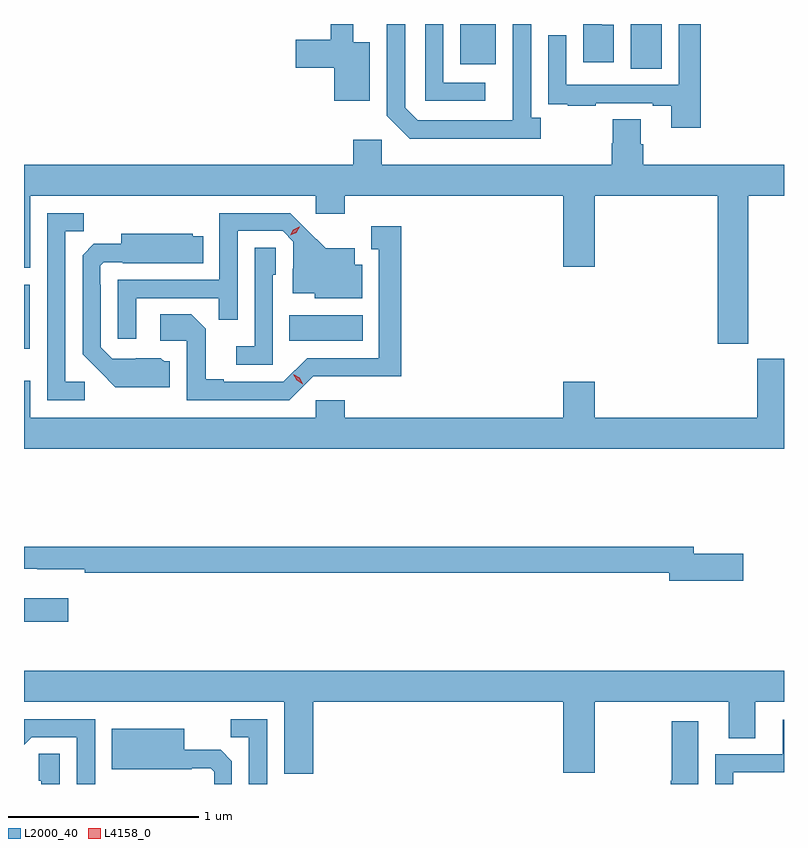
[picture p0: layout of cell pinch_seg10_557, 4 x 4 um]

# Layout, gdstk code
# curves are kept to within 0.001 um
import gdstk
lib = gdstk.Library(unit=1e-6, precision=1e-09)
def R(c, l, rs):  # rectangles x0, y0, x1, y1
    for r in rs: c.add(gdstk.rectangle(r[:2], r[2:], *l))
def P(c, l, *ps):  # polygons
    for p in ps: c.add(gdstk.Polygon(p, *l))
L2000_40 = (2000, 40)
L4158_0 = (4158, 0)

pinch_seg10_557 = lib.new_cell('pinch_seg10_557')
R(pinch_seg10_557, L2000_40, [(365.965,1276.763,366.199,1276.885), (365.965,1278.198,365.995,1278.535), (367.36,1278.242,367.747,1278.376), (369.158,1279.672,369.322,1279.908), (368.261,1279.697,368.449,1279.908)])
P(pinch_seg10_557, L2000_40, [(369.07,1279.903),(369.007,1279.903),(369.007,1279.908),(368.909,1279.908),(368.909,1279.707),(369.07,1279.707)],
  [(368.392,1279.599),(368.172,1279.599),(368.172,1279.908),(368.076,1279.908),(368.076,1279.503),(368.392,1279.503)],
  [(367.786,1279.813),(367.697,1279.813),(367.697,1279.908),(367.579,1279.908),(367.579,1279.826),(367.395,1279.826),(367.395,1279.679),(367.598,1279.679),(367.598,1279.505),(367.786,1279.505)],
  [(368.686,1279.414),(368.634,1279.414),(368.634,1279.908),(368.538,1279.908),(368.537,1279.401),(368.037,1279.401),(367.971,1279.467),(367.971,1279.908),(367.875,1279.908),(367.875,1279.425),(367.996,1279.304),(368.686,1279.304)],
  [(369.527,1279.908),(369.411,1279.908),(369.411,1279.587),(368.82,1279.587),(368.82,1279.849),(368.724,1279.849),(368.724,1279.594),(368.725,1279.594),(368.725,1279.485),(368.827,1279.485),(368.827,1279.479),(368.975,1279.479),(368.975,1279.491),(369.275,1279.491),(369.275,1279.479),(369.371,1279.479),(369.371,1279.362),(369.527,1279.362)],
  [(369.064,1279.406),(369.064,1279.281),(369.059,1279.281),(369.059,1279.168),(367.848,1279.168),(367.848,1279.3),(367.697,1279.3),(367.697,1279.168),(365.965,1279.168),(365.965,1278.624),(365.998,1278.624),(365.998,1279.004),(367.5,1279.004),(367.5,1278.909),(367.652,1278.909),(367.652,1279.004),(368.804,1279.004),(368.804,1278.63),(368.968,1278.63),(368.968,1279.004),(369.617,1279.004),(369.617,1278.225),(369.777,1278.225),(369.777,1279.004),(369.965,1279.004),(369.965,1279.168),(369.224,1279.168),(369.224,1279.274),(369.211,1279.274),(369.211,1279.406)],
  [(366.555,1278.465),(366.991,1278.465),(366.991,1278.352),(367.089,1278.352),(367.089,1278.819),(367.326,1278.819),(367.383,1278.762),(367.383,1278.62),(367.379,1278.62),(367.379,1278.491),(367.494,1278.491),(367.494,1278.464),(367.744,1278.464),(367.744,1278.64),(367.705,1278.64),(367.705,1278.727),(367.553,1278.727),(367.366,1278.912),(366.993,1278.912),(366.993,1278.561),(366.459,1278.561),(366.459,1278.252),(366.555,1278.252)],
  [(366.286,1278.024),(366.183,1278.024),(366.183,1278.817),(366.279,1278.817),(366.279,1278.912),(366.087,1278.912),(366.087,1277.928),(366.286,1277.928)],
  [(367.488,1278.054),(367.951,1278.053),(367.951,1278.844),(367.793,1278.844),(367.793,1278.723),(367.832,1278.723),(367.832,1278.15),(367.455,1278.15),(367.329,1278.024),(367.015,1278.024),(367.015,1278.037),(366.921,1278.037),(366.921,1278.304),(366.845,1278.38),(366.681,1278.38),(366.681,1278.24),(366.822,1278.24),(366.822,1277.928),(367.362,1277.928)],
  [(366.733,1278.132),(366.702,1278.132),(366.686,1278.148),(366.429,1278.147),(366.369,1278.207),(366.369,1278.536),(366.366,1278.536),(366.366,1278.636),(366.384,1278.654),(366.484,1278.654),(366.484,1278.65),(366.908,1278.65),(366.908,1278.79),(366.852,1278.79),(366.852,1278.805),(366.476,1278.805),(366.476,1278.751),(366.332,1278.751),(366.273,1278.692),(366.273,1278.17),(366.445,1277.996),(366.733,1277.996)],
  [(367.275,1278.588),(367.29,1278.588),(367.29,1278.731),(367.179,1278.731),(367.179,1278.211),(367.083,1278.211),(367.083,1278.114),(367.275,1278.114)],
  [(369.965,1278.145),(369.824,1278.145),(369.824,1277.836),(368.968,1277.836),(368.968,1278.025),(368.804,1278.025),(368.804,1277.836),(367.652,1277.836),(367.652,1277.929),(367.5,1277.929),(367.5,1277.836),(365.998,1277.836),(365.998,1278.031),(365.965,1278.031),(365.965,1277.672),(369.965,1277.672)],
  [(369.751,1277.12),(369.49,1277.12),(369.49,1277.156),(365.965,1277.156),(365.965,1277.04),(366.034,1277.04),(366.034,1277.039),(366.286,1277.039),(366.286,1277.02),(369.362,1277.02),(369.362,1276.978),(369.751,1276.978)],
  [(367.487,1276.34),(368.804,1276.34),(368.804,1275.966),(368.968,1275.966),(368.968,1276.34),(369.674,1276.34),(369.674,1276.15),(369.814,1276.15),(369.814,1276.34),(369.965,1276.34),(369.965,1276.504),(365.965,1276.504),(365.965,1276.34),(367.334,1276.34),(367.334,1275.962),(367.487,1275.962)],
  [(366.339,1276.248),(365.966,1276.248),(365.965,1276.247),(365.965,1276.114),(366.006,1276.155),(366.243,1276.155),(366.243,1275.908),(366.339,1275.908)],
  [(367.245,1276.248),(367.054,1276.248),(367.054,1276.153),(367.149,1276.153),(367.149,1275.908),(367.245,1275.908)],
  [(369.699,1275.969),(369.965,1275.969),(369.965,1276.246),(369.959,1276.246),(369.959,1276.065),(369.603,1276.065),(369.603,1275.908),(369.699,1275.908)],
  [(369.514,1276.237),(369.373,1276.237),(369.373,1275.924),(369.368,1275.924),(369.368,1275.908),(369.514,1275.908)],
  [(367.059,1276.028),(367,1276.087),(366.808,1276.087),(366.808,1276.198),(366.428,1276.198),(366.428,1275.986),(366.848,1275.986),(366.848,1275.99),(366.948,1275.99),(366.966,1275.972),(366.966,1275.908),(367.059,1275.908)],
  [(366.153,1276.067),(366.042,1276.067),(366.042,1275.924),(366.057,1275.924),(366.057,1275.908),(366.153,1275.908)])
P(pinch_seg10_557, L4158_0, [(367.432,1278.013),(367.4,1278.032),(367.383,1278.064),(367.383,1278.064),(367.383,1278.064),(367.415,1278.046),(367.432,1278.013),(367.432,1278.013)],
  [(367.366,1278.796),(367.366,1278.796),(367.383,1278.825),(367.414,1278.84),(367.415,1278.84),(367.415,1278.84),(367.397,1278.81),(367.366,1278.796)])

lib.write_gds('pinch_seg10_557.gds')
